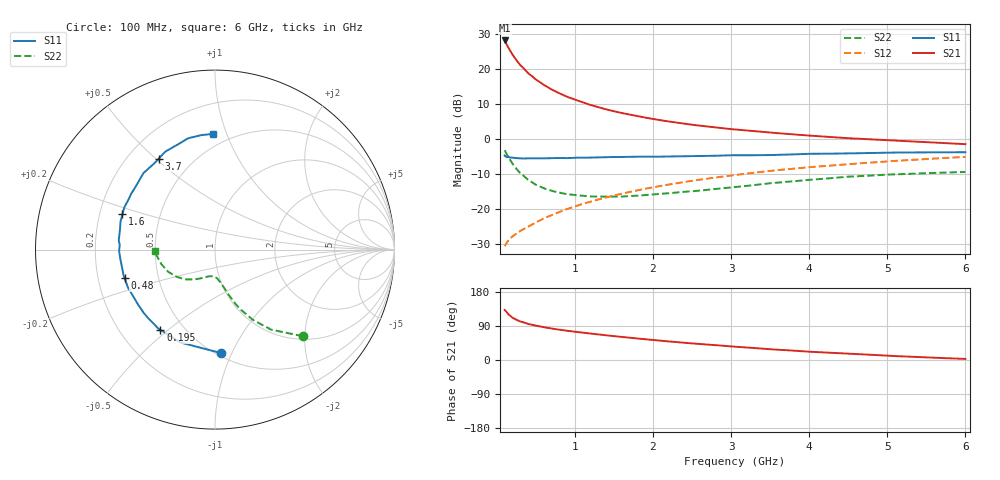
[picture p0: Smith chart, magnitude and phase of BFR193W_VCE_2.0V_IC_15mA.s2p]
! Infineon Technologies  Discrete & RF Semiconductors
! BFR193W
! VCE =  2.0 V,  IC =  15 mA
! Common Emitter S-Parameters:  Nov 2015
# GHz  S  MA  R  50
!  f  S11  S21  S12  S22
! GHz  MAG  ANG  MAG  ANG  MAG  ANG  MAG  ANG
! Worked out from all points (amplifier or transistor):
!   192 points, 100 MHz to 6 GHz, reference 50 ohm
!   highest |S21| = 28.1 dB at 100 MHz (marker M1)
!   |S21| within 3 dB of that: start of sweep to 173.8 MHz
!   unconditionally stable (mu >= 1): 822.3 MHz to 2.559 GHz
!   at 440 MHz: K = 0.83, MSG = 21.3 dB, |S12| = -24.5 dB
!   at 1.7 GHz: K = 1.04, MAG = 9.9 dB, |S12| = -15.1 dB
!   at 6 GHz: K = 0.91, MSG = 1.8 dB, |S12| = -5.1 dB
!   S11 on the Smith chart (normalised r, x): 100 MHz: 0.53, -0.91; 195 MHz: 0.37, -0.47; 480 MHz: 0.32, -0.14; 1.6 GHz: 0.30, +0.17; 3.7 GHz: 0.33, +0.51; 6 GHz: 0.41, +0.90
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0.1  0.5779 -86.5  25.31 132.3  0.0295 57.9  0.6882 -44.6
0.15  0.5521 -110.4  19.78 120.0  0.036 53.5  0.5429 -55.1
0.195  0.5403 -124.3  16.32 112.7  0.0401 51.6  0.454 -60.9
0.2  0.541 -125.9  15.96 111.7  0.0406 51.4  0.4445 -61.7
0.24  0.5331 -134.7  13.78 107.4  0.0439 52.0  0.387 -65.2
0.26  0.531 -138.4  12.85 105.3  0.0455 52.3  0.3634 -66.8
0.3  0.5267 -144.7  11.3 101.7  0.0486 53.1  0.3256 -69.2
0.4  0.529 -156.6  8.668 95.2  0.056 55.6  0.2603 -73.4
0.48  0.5284 -162.5  7.349 91.6  0.0626 57.6  0.2292 -75.5
0.5  0.5291 -164.0  7.025 90.5  0.0643 58.0  0.2215 -76.1
0.6  0.5281 -170.1  5.903 86.5  0.0731 60.1  0.1973 -79.1
0.7  0.5303 -174.7  5.07 83.0  0.0816 61.7  0.1815 -81.0
0.9  0.5312 177.3  3.984 77.1  0.0998 63.8  0.1625 -85.0
1.1  0.5389 171.4  3.327 72.2  0.1181 64.7  0.1543 -89.3
1.4  0.5491 163.7  2.632 65.1  0.146 65.1  0.1498 -95.9
1.6  0.5522 159.1  2.335 60.8  0.1652 64.9  0.1504 -100.1
2.08  0.5577 149.1  1.858 51.3  0.2115 63.2  0.1637 -109.4
3.1  0.5835 131.4  1.346 34.5  0.3099 56.7  0.2077 -127.0
3.7  0.5959 121.7  1.181 26.0  0.3672 51.9  0.243 -138.6
4.1  0.6128 115.5  1.095 20.9  0.4025 48.5  0.2652 -146.2
5.1  0.6382 102.2  0.946 10.4  0.4849 39.8  0.3117 -166.4
6  0.6449 90.8  0.841 2.9  0.5535 31.7  0.3371 -179.0
